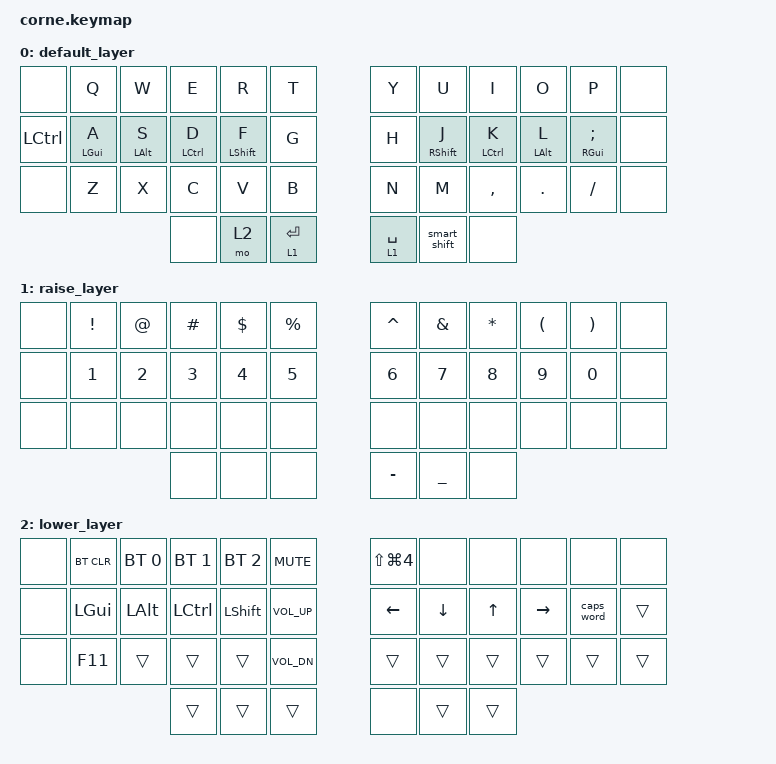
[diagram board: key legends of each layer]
/*
 * Copyright (c) 2020 The ZMK Contributors
 *
 * SPDX-License-Identifier: MIT
 */

#include <behaviors.dtsi>
#include <dt-bindings/zmk/bt.h>
#include <dt-bindings/zmk/keys.h>

/ {
    behaviors {
        hm: homerow_mod {
            compatible = "zmk,behavior-hold-tap";
            label = "HM";
            bindings = <&kp>, <&kp>;

            #binding-cells = <2>;
            tapping-term-ms = <150>;
            flavor = "tap-preferred";
        };

        hml: hml {
            compatible = "zmk,behavior-hold-tap";
            label = "HML";
            bindings = <&kp>, <&kp>;

            #binding-cells = <2>;
            flavor = "balanced";
            tapping-term-ms = <280>;
            quick-tap-ms = <175>;
            require-prior-idle-ms = <150>;
            hold-trigger-key-positions = <6 18 30 31 32 33 34 35 11 23 22 10 9 21 20 8 7 19 36 37 38 39 40 41 6 7 9 10 11 18 19 20 21 22 23 30 31 32 33 34 35>;
            hold-trigger-on-release;
        };

        hmr: hmr {
            compatible = "zmk,behavior-hold-tap";
            label = "HMR";
            bindings = <&kp>, <&kp>;

            #binding-cells = <2>;
            tapping-term-ms = <280>;
            quick-tap-ms = <175>;
            require-prior-idle-ms = <150>;
            flavor = "balanced";
            hold-trigger-key-positions = <0 1 2 3 4 5 12 13 14 15 16 17 24 25 26 27 28 29 36 37 38 39 40 41>;
            hold-trigger-on-release;
        };

        smart_shift: smart_shift {
            compatible = "zmk,behavior-mod-morph";
            label = "SMART_SHIFT";
            bindings = <&sk LEFT_SHIFT>, <&caps_word>;

            #binding-cells = <0>;
            mods = <(MOD_LSFT)>;
        };
    };

    combos {
        compatible = "zmk,combos";

        Escape {
            bindings = <&kp ESCAPE>;
            key-positions = <16 15>;
        };

        LeftParen {
            bindings = <&kp TAB>;
            key-positions = <14 15 16>;
        };

        RightParen {
            bindings = <&kp GRAVE>;
            key-positions = <13 14>;
        };

        LeftBracket {
            bindings = <&kp MINUS>;
            key-positions = <27 28>;
        };

        RightBracket {
            bindings = <&kp EQUAL>;
            key-positions = <31 32>;
        };

        Tab {
            bindings = <&kp BACKSPACE>;
            key-positions = <20 19>;
        };

        Quotes {
            bindings = <&kp SINGLE_QUOTE>;
            key-positions = <21 22>;
        };

        Backslash {
            bindings = <&kp BACKSLASH>;
            key-positions = <19 20 21>;
        };
    };

    keymap {
        compatible = "zmk,keymap";

        default_layer {
            // -----------------------------------------------------------------------------------------
            // |  TAB |  Q  |  W  |  E  |  R  |  T  |   |  Y  |  U   |  I  |  O  |  P  | BKSP |
            // | CTRL |  A  |  S  |  D  |  F  |  G  |   |  H  |  J   |  K  |  L  |  ;  |  '   |
            // | SHFT |  Z  |  X  |  C  |  V  |  B  |   |  N  |  M   |  ,  |  .  |  /  | ESC  |
            //                    | GUI | LWR | SPC |   | ENT | RSE  | ALT |

            bindings = <
&none             &kp Q            &kp W            &kp E         &kp R              &kp T          &kp Y        &kp U               &kp I         &kp O            &kp P                     &none
&kp LEFT_CONTROL  &hml LEFT_GUI A  &hml LEFT_ALT S  &hml LCTRL D  &hml LEFT_SHIFT F  &kp G          &kp H        &hmr RIGHT_SHIFT J  &hmr LCTRL K  &hmr LEFT_ALT L  &hmr RIGHT_GUI SEMICOLON  &none
&none             &kp Z            &kp X            &kp C         &kp V              &kp B          &kp N        &kp M               &kp COMMA     &kp DOT          &kp FSLH                  &none
                                                    &none         &mo 2              &lt 1 ENTER    &lt 1 SPACE  &smart_shift        &none
            >;
        };

        raise_layer {
            // -----------------------------------------------------------------------------------------
            // |  TAB |  !  |  @  |  #  |  $  |  %  |   |  ^  |  &  |  *  |  (  |  )  | BKSP |
            // | CTRL |     |     |     |     |     |   |  -  |  =  |  [  |  ]  |  \  |  `   |
            // | SHFT |     |     |     |     |     |   |  _  |  +  |  {  |  }  | "|" |  ~   |
            //                    | GUI |     | SPC |   | ENT |     | ALT |

            bindings = <
&none  &kp EXCL      &kp AT        &kp HASH      &kp DOLLAR  &kp PERCENT    &kp CARET  &kp AMPERSAND   &kp STAR  &kp LEFT_PARENTHESIS  &kp RIGHT_PARENTHESIS  &none
&none  &kp NUMBER_1  &kp NUMBER_2  &kp NUMBER_3  &kp N4      &kp N5         &kp N6     &kp N7          &kp N8    &kp N9                &kp N0                 &none
&none  &none         &none         &none         &none       &none          &none      &none           &none     &none                 &none                  &none
                                   &none         &none       &none          &kp MINUS  &kp UNDERSCORE  &none
            >;
        };

        lower_layer {
            // -----------------------------------------------------------------------------------------
            // |  TAB |  1  |  2  |  3  |  4  |  5  |   |  6  |  7  |  8  |  9  |  0  | BKSP |
            // | BTCLR| BT1 | BT2 | BT3 | BT4 | BT5 |   | LFT | DWN |  UP | RGT |     |      |
            // | SHFT |     |     |     |     |     |   |     |     |     |     |     |      |
            //                    | GUI |     | SPC |   | ENT |     | ALT |

            bindings = <
&none  &bt BT_CLR    &bt BT_SEL 0  &bt BT_SEL 1  &bt BT_SEL 2    &kp K_MUTE         &kp LS(LG(NUMBER_4))  &none     &none   &none      &none       &none
&none  &kp LEFT_GUI  &kp LEFT_ALT  &kp LCTRL     &kp LEFT_SHIFT  &kp C_VOLUME_UP    &kp LEFT              &kp DOWN  &kp UP  &kp RIGHT  &caps_word  &trans
&none  &kp F11       &trans        &trans        &trans          &kp C_VOL_DN       &trans                &trans    &trans  &trans     &trans      &trans
                                   &trans        &trans          &trans             &none                 &trans    &trans
            >;
        };
    };
};
